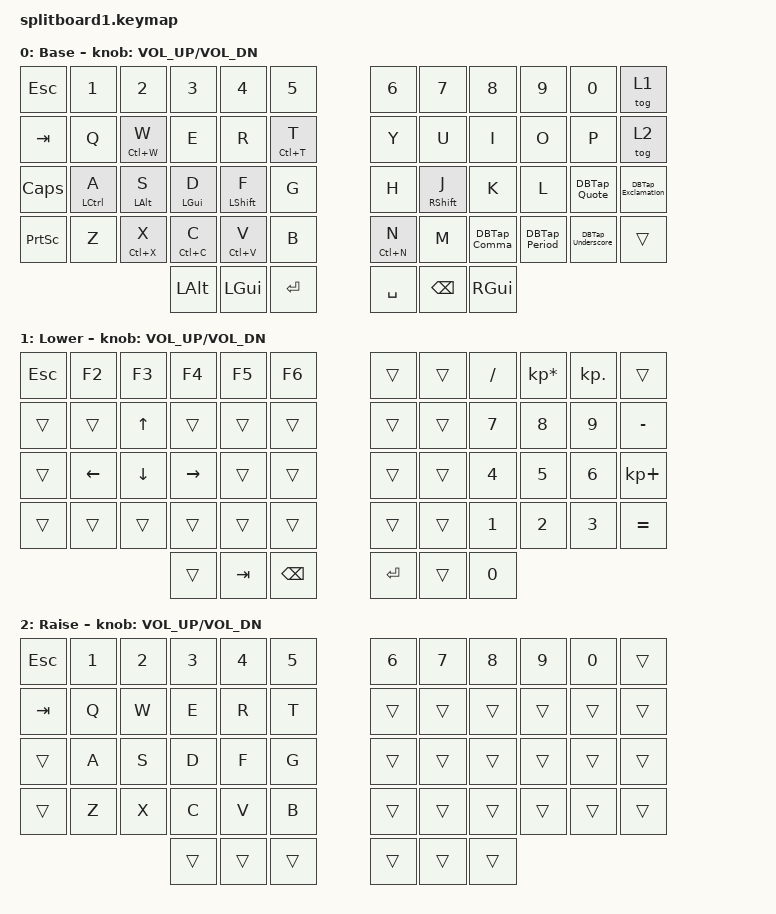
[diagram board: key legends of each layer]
/*
 * Copyright (c) 2020 The ZMK Contributors
 *
 * SPDX-License-Identifier: MIT
 */

#include <behaviors.dtsi>
#include <dt-bindings/zmk/keys.h>

/ {
    behaviors {
        DBTap_Comma: DBTap_Comma {
            compatible = "zmk,behavior-tap-dance";
            label = "DBTAP_COMMA";
            #binding-cells = <0>;
            bindings = <&kp COMMA>, <&kp SEMICOLON>;
        };

        DBTap_Period: DBTap_Period {
            compatible = "zmk,behavior-tap-dance";
            label = "DBTAP_PERIOD";
            #binding-cells = <0>;
            bindings = <&kp PERIOD>, <&kp COLON>;
        };

        DBTap_Underscore: DBTap_Underscore {
            compatible = "zmk,behavior-tap-dance";
            label = "DBTAP_UNDERSCORE";
            #binding-cells = <0>;
            bindings = <&kp MINUS>, <&kp UNDERSCORE>;
        };

        DBTap_Exclamation: DBTap_Exclamation {
            compatible = "zmk,behavior-tap-dance";
            label = "DBTAP_EXCLAMATION";
            #binding-cells = <0>;
            bindings = <&kp QUESTION>, <&kp EXCL>;
        };

        DBTap_Quote: DBTap_Quote {
            compatible = "zmk,behavior-tap-dance";
            label = "DBTAP_QUOTE";
            #binding-cells = <0>;
            bindings = <&kp SINGLE_QUOTE>, <&kp DOUBLE_QUOTES>;
        };

        Long_Press: Long_Press {
            compatible = "zmk,behavior-hold-tap";
            label = "LONG_PRESS";
            bindings = <&kp>, <&kp>;

            #binding-cells = <2>;
            tapping-term-ms = <350>;
            flavor = "tap-preferred";
        };

        HMShift_R: HMShift_R {
            compatible = "zmk,behavior-hold-tap";
            label = "HMSHIFT_R";
            bindings = <&kp>, <&kp>;

            #binding-cells = <2>;
            tapping-term-ms = <200>;
            hold-while-undecided;
            hold-trigger-on-release;
            hold-trigger-key-positions = <0 1 2 3 4 5 12 13 14 15 16 17 24 25 26 27 28 29 36 37 38 39 40 41 48 49 50>;
        };

        HMShift_L: HMShift_L {
            compatible = "zmk,behavior-hold-tap";
            label = "HMSHIFT_L";
            bindings = <&kp>, <&kp>;

            #binding-cells = <2>;
            tapping-term-ms = <200>;
            hold-while-undecided;
            hold-trigger-on-release;
            hold-trigger-key-positions = <6 7 8 9 10 11 18 19 20 21 22 23 30 31 32 33 34 35 42 43 44 45 46 47 51 52 53>;
        };

        HM_R: HM_R {
            compatible = "zmk,behavior-hold-tap";
            label = "HM_R";
            bindings = <&kp>, <&kp>;

            #binding-cells = <2>;
            tapping-term-ms = <200>;
            hold-while-undecided;
            hold-trigger-on-release;
            hold-trigger-key-positions = <0 1 2 3 4 5 12 13 14 15 16 17 24 25 26 27 28 29 36 37 38 39 40 41 48 49 50>;
            flavor = "tap-preferred";
        };

        HM_L: HM_L {
            compatible = "zmk,behavior-hold-tap";
            label = "HM_L";
            bindings = <&kp>, <&kp>;

            #binding-cells = <2>;
            tapping-term-ms = <200>;
            hold-while-undecided;
            hold-trigger-on-release;
            hold-trigger-key-positions = <6 7 8 9 10 11 18 19 20 21 22 23 30 31 32 33 34 35 42 43 44 45 46 47 51 52 53>;
            flavor = "tap-preferred";
        };
    };

    keymap {
        compatible = "zmk,keymap";

        Base_Typing {
            // ------------------------------------------------------------------------------------------------------------
            // |  ESC  |  1  |  2  |  3   |  4   |  5   |                   |  6   |  7    |  8    |  9   |   0   |   `   |
            // |  TAB  |  Q  |  W  |  E   |  R   |  T   |                   |  Y   |  U    |  I    |  O   |   P   |   -   |
            // |  CTRL |  A  |  S  |  D   |  F   |  G   |                   |  H   |  J    |  K    |  L   |   ;   |   '   |
            // | SHIFT |  Z  |  X  |  C   |  V   |  B   |   "["  |  |  "]"  |  N   |  M    |  ,    |  .   |   /   | SHIFT |
            //                     | ALT  | GUI  | LOWER|  SPACE |  | ENTER | RAISE| BSPC  | GUI   |

            display-name = "Base";
            bindings = <
&kp ESC          &kp N1                &kp N2               &kp N3               &kp N4                   &kp N5               &kp N6               &kp N7                    &kp N8        &kp N9         &kp N0             &tog 1
&kp TAB          &kp Q                 &Long_Press LC(W) W  &kp E                &kp R                    &Long_Press LC(T) T  &kp Y                &kp U                     &kp I         &kp O          &kp P              &tog 2
&kp CAPS         &HM_L LEFT_CONTROL A  &HM_L LEFT_ALT S     &HM_L LEFT_GUI D     &HMShift_L LEFT_SHIFT F  &kp G                &kp H                &HMShift_R RIGHT_SHIFT J  &kp K         &kp L          &DBTap_Quote       &DBTap_Exclamation
&kp PRINTSCREEN  &kp Z                 &Long_Press LC(X) X  &Long_Press LC(C) C  &Long_Press LC(V) V      &kp B                &Long_Press LC(N) N  &kp M                     &DBTap_Comma  &DBTap_Period  &DBTap_Underscore  &trans
                                                            &kp LALT             &kp LGUI                 &kp ENTER            &kp SPACE            &kp BSPC                  &kp RGUI
            >;

            sensor-bindings = <&inc_dec_kp C_VOL_UP C_VOL_DN>;
        };

        NumPad_Fkeys {
            // ------------------------------------------------------------------------------------------------------------
            // | BTCLR | BT1 | BT2 |  BT3 |  BT4 |  BT5 |                   |      |       |       |      |       |       |
            // |  F1   |  F2 |  F3 |  F4  |  F5  |  F6  |                   |  F7  |  F8   |  F9   |  F10 |  F11  |  F12  |
            // |   `   |  !  |  @  |  #   |  $   |  %   |                   |  ^   |  &    |  *    |  (   |   )   |   ~   |
            // |       |     |     |      |      |      |        |  |       |      |  _    |  +    |  {   |   }   |  "|"  |
            //                     |      |      |      |        |  |       |      |       |       |

            display-name = "Lower";
            bindings = <
&kp ESCAPE  &kp F2          &kp F3          &kp F4           &kp F5   &kp F6    &trans     &trans  &kp SLASH  &kp KP_MULTIPLY  &kp KP_DOT    &trans
&trans      &trans          &kp UP_ARROW    &trans           &trans   &trans    &trans     &trans  &kp N7     &kp N8           &kp N9        &kp MINUS
&trans      &kp LEFT_ARROW  &kp DOWN_ARROW  &kp RIGHT_ARROW  &trans   &trans    &trans     &trans  &kp N4     &kp N5           &kp NUMBER_6  &kp KP_PLUS
&trans      &trans          &trans          &trans           &trans   &trans    &trans     &trans  &kp N1     &kp N2           &kp N3        &kp EQUAL
                                            &trans           &kp TAB  &kp BSPC  &kp ENTER  &trans  &kp N0
            >;

            sensor-bindings = <&inc_dec_kp C_VOL_UP C_VOL_DN>;
        };

        Gaming {
            // ------------------------------------------------------------------------------------------------------------
            // |       |     |     |      |      |      |                   |      |       |       |      |       |       |
            // |   `   |  1  |  2  |  3   |  4   |  5   |                   |  6   |   7   |   8   |  9   |   0   |       |
            // |   F1  |  F2 |  F3 |  F4  |  F5  |  F6  |                   |      |   <-  |   v   |  ^   |  ->   |       |
            // |   F7  |  F8 |  F9 |  F10 |  F11 |  F12 |        |  |       |  +   |   -   |   =   |  [   |   ]   |   \   |
            //                     |      |      |      |        |  |       |      |       |       |

            display-name = "Raise";
            bindings = <
&kp ESC  &kp N1  &kp N2  &kp N3  &kp N4  &kp N5  &kp N6  &kp N7  &kp N8  &kp N9  &kp N0  &trans
&kp TAB  &kp Q   &kp W   &kp E   &kp R   &kp T   &trans  &trans  &trans  &trans  &trans  &trans
&trans   &kp A   &kp S   &kp D   &kp F   &kp G   &trans  &trans  &trans  &trans  &trans  &trans
&trans   &kp Z   &kp X   &kp C   &kp V   &kp B   &trans  &trans  &trans  &trans  &trans  &trans
                         &trans  &trans  &trans  &trans  &trans  &trans
            >;

            sensor-bindings = <&inc_dec_kp C_VOL_UP C_VOL_DN>;
        };

        extra_1 { status = "reserved"; };

        extra_2 { status = "reserved"; };

        extra_3 { status = "reserved"; };
    };
};
